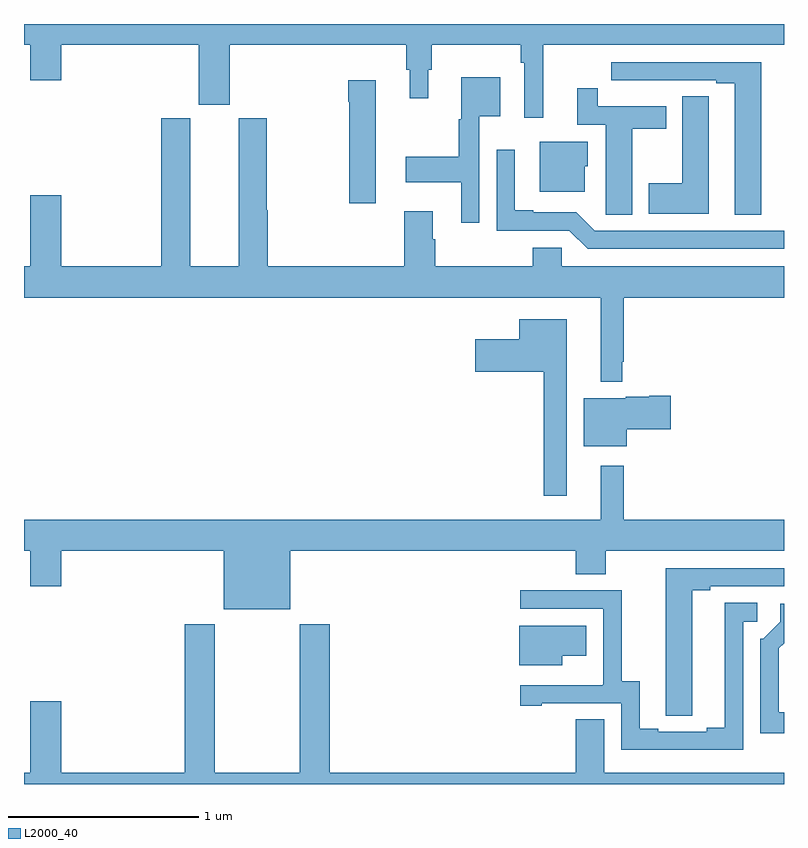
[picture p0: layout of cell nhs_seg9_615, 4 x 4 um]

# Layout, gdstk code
import gdstk
lib = gdstk.Library(unit=1e-6, precision=1e-09)
def P(c, l, *ps):  # polygons
    for p in ps: c.add(gdstk.Polygon(p, *l))
L2000_40 = (2000, 40)

nhs_seg9_615 = lib.new_cell('nhs_seg9_615')
P(nhs_seg9_615, L2000_40, [(143.732,1224.392),(145,1224.392),(145,1224.5),(141,1224.5),(141,1224.392),(141.032,1224.392),(141.032,1224.204),(141.196,1224.204),(141.196,1224.392),(141.92,1224.392),(141.92,1224.075),(142.084,1224.075),(142.084,1224.392),(143.011,1224.392),(143.011,1224.258),(143.03,1224.258),(143.03,1224.108),(143.128,1224.108),(143.128,1224.258),(143.147,1224.258),(143.147,1224.392),(143.614,1224.392),(143.614,1224.296),(143.634,1224.296),(143.634,1224.006),(143.732,1224.006)],
  [(144.88,1224.3),(144.09,1224.3),(144.09,1224.204),(144.202,1224.204),(144.202,1224.203),(144.368,1224.203),(144.368,1224.204),(144.644,1224.204),(144.644,1224.189),(144.74,1224.189),(144.74,1223.497),(144.88,1223.497)],
  [(143.397,1224.014),(143.506,1224.014),(143.506,1224.22),(143.3,1224.22),(143.3,1224),(143.289,1224),(143.289,1223.801),(143.01,1223.801),(143.01,1223.666),(143.3,1223.666),(143.3,1223.454),(143.397,1223.454)],
  [(142.852,1224.205),(142.706,1224.205),(142.706,1224.092),(142.711,1224.092),(142.711,1223.556),(142.852,1223.556)],
  [(144.202,1223.95),(144.379,1223.95),(144.379,1224.066),(144.02,1224.066),(144.02,1224.163),(143.912,1224.163),(143.912,1223.97),(144.062,1223.97),(144.062,1223.608),(144.063,1223.608),(144.063,1223.497),(144.202,1223.497)],
  [(144.604,1224.011),(144.603,1224.011),(144.603,1224.119),(144.464,1224.119),(144.464,1223.661),(144.287,1223.661),(144.287,1223.501),(144.604,1223.501)],
  [(144.035,1222.616),(144.149,1222.616),(144.149,1222.723),(144.157,1222.723),(144.157,1223.06),(145,1223.06),(145,1223.224),(143.829,1223.224),(143.829,1223.322),(143.678,1223.322),(143.678,1223.224),(143.165,1223.224),(143.165,1223.366),(143.152,1223.366),(143.152,1223.515),(143,1223.515),(143,1223.224),(142.283,1223.224),(142.283,1223.52),(142.278,1223.52),(142.278,1224.003),(142.13,1224.003),(142.13,1223.224),(141.874,1223.224),(141.874,1224.003),(141.722,1224.003),(141.722,1223.224),(141.196,1223.224),(141.196,1223.599),(141.032,1223.599),(141.032,1223.224),(141,1223.224),(141,1223.06),(144.035,1223.06)],
  [(143.95,1223.751),(143.968,1223.751),(143.968,1223.881),(143.714,1223.881),(143.714,1223.618),(143.95,1223.618)],
  [(145,1223.412),(144.003,1223.412),(143.907,1223.508),(143.68,1223.508),(143.68,1223.521),(143.584,1223.521),(143.584,1223.839),(143.487,1223.839),(143.487,1223.412),(143.871,1223.412),(143.967,1223.316),(145,1223.316)],
  [(143.857,1222.945),(143.606,1222.945),(143.606,1222.84),(143.376,1222.84),(143.376,1222.67),(143.736,1222.67),(143.736,1222.017),(143.857,1222.017)],
  [(144.172,1222.366),(144.403,1222.366),(144.403,1222.544),(144.29,1222.544),(144.29,1222.537),(144.168,1222.537),(144.168,1222.531),(143.945,1222.531),(143.945,1222.277),(144.172,1222.277)],
  [(142.402,1221.728),(143.903,1221.728),(143.903,1221.604),(144.063,1221.604),(144.063,1221.728),(145,1221.728),(145,1221.892),(144.157,1221.892),(144.157,1222.174),(144.035,1222.174),(144.035,1221.892),(141,1221.892),(141,1221.728),(141.032,1221.728),(141.032,1221.54),(141.196,1221.54),(141.196,1221.728),(142.052,1221.728),(142.052,1221.419),(142.402,1221.419)],
  [(144.517,1221.52),(144.613,1221.52),(144.613,1221.54),(145,1221.54),(145,1221.636),(144.377,1221.636),(144.377,1220.968),(144.378,1220.968),(144.378,1220.86),(144.517,1220.86)],
  [(144.786,1221.354),(144.859,1221.354),(144.859,1221.455),(144.689,1221.455),(144.689,1220.795),(144.593,1220.795),(144.593,1220.775),(144.337,1220.775),(144.337,1220.79),(144.241,1220.79),(144.241,1221.041),(144.147,1221.041),(144.147,1221.519),(143.613,1221.519),(143.613,1221.423),(144.048,1221.423),(144.048,1221.022),(144.047,1221.022),(144.047,1221.021),(143.613,1221.021),(143.613,1220.913),(143.725,1220.913),(143.725,1220.925),(144.144,1220.925),(144.144,1220.679),(144.786,1220.679)],
  [(145,1220.878),(144.973,1220.878),(144.973,1221.214),(145,1221.241),(145,1221.45),(144.981,1221.45),(144.981,1221.354),(144.891,1221.264),(144.876,1221.264),(144.876,1220.768),(145,1220.768)],
  [(145,1220.56),(144.055,1220.56),(144.055,1220.84),(143.903,1220.84),(143.903,1220.56),(142.61,1220.56),(142.61,1221.34),(142.45,1221.34),(142.45,1220.56),(142.005,1220.56),(142.005,1221.34),(141.845,1221.34),(141.845,1220.56),(141.196,1220.56),(141.196,1220.935),(141.032,1220.935),(141.032,1220.56),(141,1220.56),(141,1220.5),(145,1220.5)],
  [(143.833,1221.176),(143.959,1221.176),(143.959,1221.334),(143.606,1221.334),(143.606,1221.125),(143.833,1221.125)])

lib.write_gds('nhs_seg9_615.gds')
